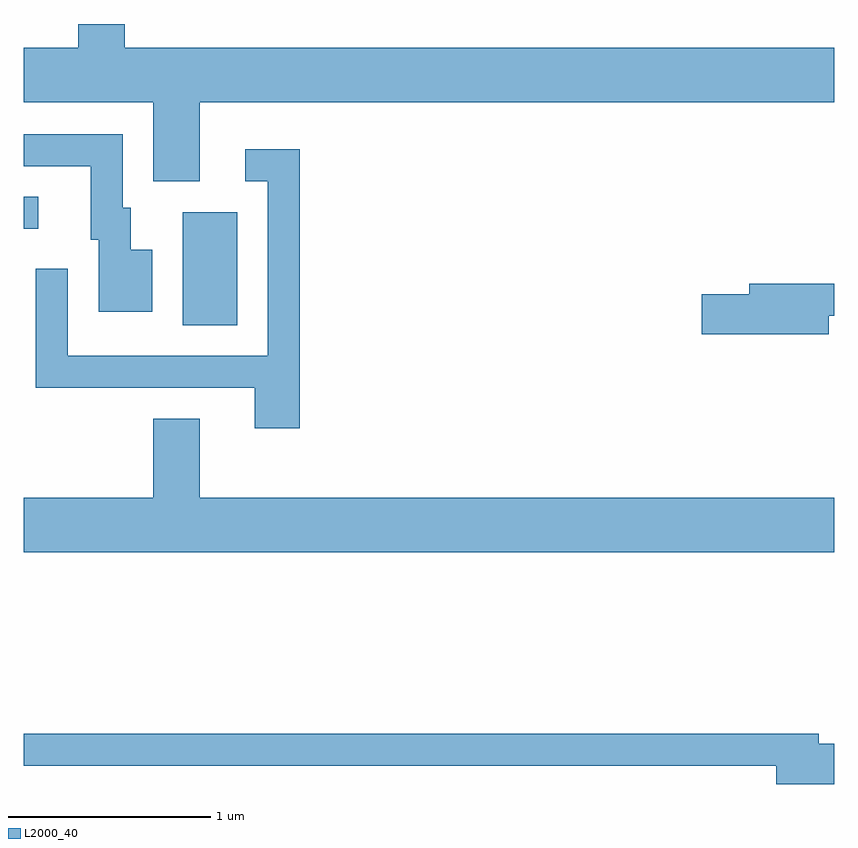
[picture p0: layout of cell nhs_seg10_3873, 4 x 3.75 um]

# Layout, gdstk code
import gdstk
lib = gdstk.Library(unit=1e-6, precision=1e-09)
def R(c, l, rs):  # rectangles x0, y0, x1, y1
    for r in rs: c.add(gdstk.rectangle(r[:2], r[2:], *l))
def P(c, l, *ps):  # polygons
    for p in ps: c.add(gdstk.Polygon(p, *l))
L2000_40 = (2000, 40)

nhs_seg10_3873 = lib.new_cell('nhs_seg10_3873')
R(nhs_seg10_3873, L2000_40, [(300.396,2115.036,300.664,2115.594), (299.611,2115.511,299.683,2115.669)])
P(nhs_seg10_3873, L2000_40, [(300.479,2116.136),(303.611,2116.136),(303.611,2116.404),(300.109,2116.404),(300.109,2116.522),(299.881,2116.522),(299.881,2116.404),(299.611,2116.404),(299.611,2116.136),(300.251,2116.136),(300.251,2115.746),(300.479,2115.746)],
  [(300.244,2115.409),(300.139,2115.409),(300.139,2115.614),(300.099,2115.614),(300.099,2115.979),(299.611,2115.979),(299.611,2115.821),(299.941,2115.821),(299.941,2115.456),(299.981,2115.456),(299.981,2115.101),(300.244,2115.101)],
  [(300.974,2115.904),(300.703,2115.904),(300.703,2115.746),(300.816,2115.746),(300.816,2114.884),(299.829,2114.884),(299.829,2115.313),(299.671,2115.313),(299.671,2114.726),(300.751,2114.726),(300.751,2114.526),(300.974,2114.526)],
  [(303.584,2115.081),(303.611,2115.081),(303.611,2115.239),(303.191,2115.239),(303.191,2115.189),(302.956,2115.189),(302.956,2114.991),(303.584,2114.991)],
  [(303.611,2114.184),(300.479,2114.184),(300.479,2114.574),(300.251,2114.574),(300.251,2114.184),(299.611,2114.184),(299.611,2113.916),(303.611,2113.916)],
  [(303.611,2112.969),(303.534,2112.969),(303.534,2113.019),(299.611,2113.019),(299.611,2112.861),(303.326,2112.861),(303.326,2112.771),(303.611,2112.771)])

lib.write_gds('nhs_seg10_3873.gds')
